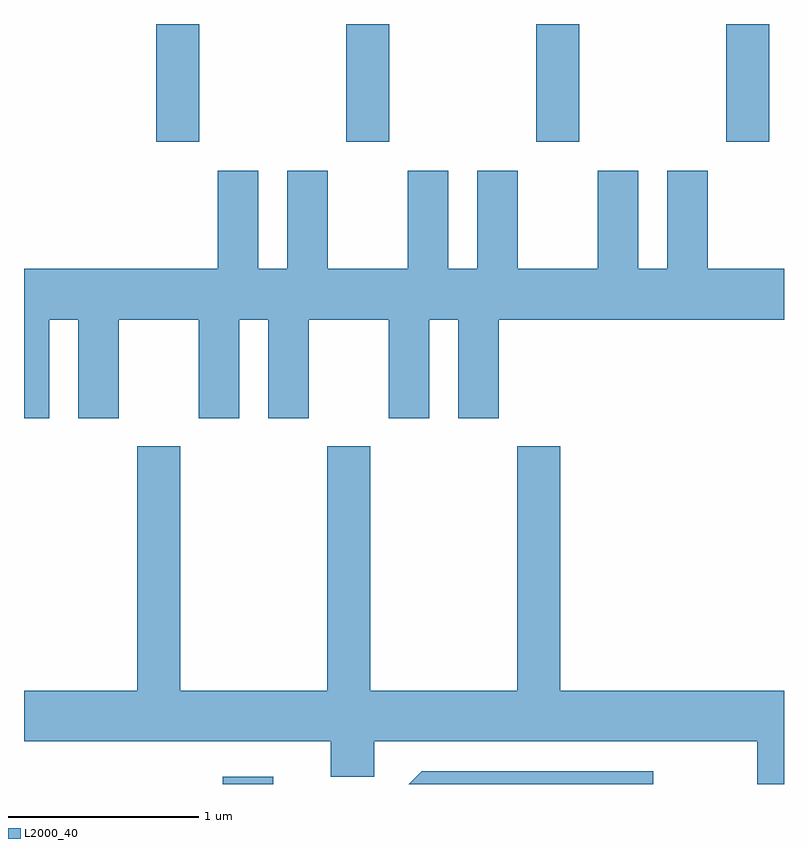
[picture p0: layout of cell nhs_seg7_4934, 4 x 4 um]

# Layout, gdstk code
import gdstk
lib = gdstk.Library(unit=1e-6, precision=1e-09)
def R(c, l, rs):  # rectangles x0, y0, x1, y1
    for r in rs: c.add(gdstk.rectangle(r[:2], r[2:], *l))
def A(c, l, x, y, w, h, nx, ny, dx, dy):  # array of equal rectangles
    R(c, l, [(x+i*dx, y+j*dy, x+i*dx+w, y+j*dy+h) for i in range(nx) for j in range(ny)])
def P(c, l, *ps):  # polygons
    for p in ps: c.add(gdstk.Polygon(p, *l))
L2000_40 = (2000, 40)

nhs_seg7_4934 = lib.new_cell('nhs_seg7_4934')
A(nhs_seg7_4934, L2000_40, 336.306, 1779.631, 0.228, 0.621, 4, 1, 1, 0)
R(nhs_seg7_4934, L2000_40, [(336.656,1776.252,336.924,1776.289)])
P(nhs_seg7_4934, L2000_40, [(335.611,1778.176),(335.744,1778.176),(335.744,1778.696),(335.896,1778.696),(335.896,1778.176),(336.109,1778.176),(336.109,1778.696),(336.531,1778.696),(336.531,1778.176),(336.744,1778.176),(336.744,1778.696),(336.896,1778.696),(336.896,1778.176),(337.109,1778.176),(337.109,1778.696),(337.531,1778.696),(337.531,1778.176),(337.744,1778.176),(337.744,1778.696),(337.896,1778.696),(337.896,1778.176),(338.109,1778.176),(338.109,1778.696),(339.611,1778.696),(339.611,1778.964),(339.209,1778.964),(339.209,1779.479),(338.996,1779.479),(338.996,1778.964),(338.844,1778.964),(338.844,1779.479),(338.631,1779.479),(338.631,1778.964),(338.209,1778.964),(338.209,1779.479),(337.996,1779.479),(337.996,1778.964),(337.844,1778.964),(337.844,1779.479),(337.631,1779.479),(337.631,1778.964),(337.209,1778.964),(337.209,1779.479),(336.996,1779.479),(336.996,1778.964),(336.844,1778.964),(336.844,1779.479),(336.631,1779.479),(336.631,1778.964),(335.611,1778.964)],
  [(339.611,1776.744),(338.434,1776.744),(338.434,1778.029),(338.206,1778.029),(338.206,1776.744),(337.434,1776.744),(337.434,1778.029),(337.206,1778.029),(337.206,1776.744),(336.434,1776.744),(336.434,1778.029),(336.206,1778.029),(336.206,1776.744),(335.611,1776.744),(335.611,1776.476),(337.226,1776.476),(337.226,1776.291),(337.454,1776.291),(337.454,1776.476),(339.471,1776.476),(339.471,1776.252),(339.611,1776.252)],
  [(338.924,1776.319),(337.704,1776.319),(337.637,1776.252),(338.924,1776.252)])

lib.write_gds('nhs_seg7_4934.gds')
